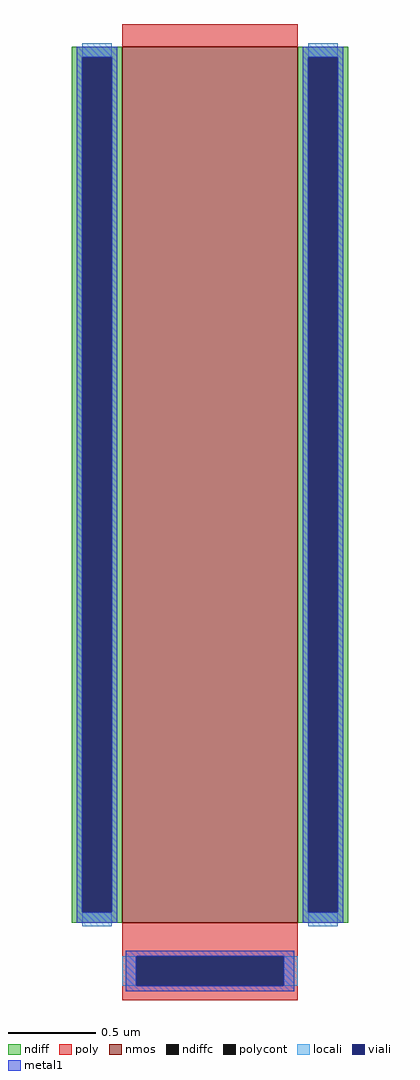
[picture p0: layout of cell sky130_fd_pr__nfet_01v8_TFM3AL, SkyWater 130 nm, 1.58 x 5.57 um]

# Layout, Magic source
magic
tech sky130A
magscale 1 2
<< nmos >>
rect -100 -469 100 531
<< ndiff >>
rect -158 519 -100 531
rect -158 -457 -146 519
rect -112 -457 -100 519
rect -158 -469 -100 -457
rect 100 519 158 531
rect 100 -457 112 519
rect 146 -457 158 519
rect 100 -469 158 -457
<< ndiffc >>
rect -146 -457 -112 519
rect 112 -457 146 519
<< poly >>
rect -100 531 100 557
rect -100 -507 100 -469
rect -100 -541 -84 -507
rect 84 -541 100 -507
rect -100 -557 100 -541
<< polycont >>
rect -84 -541 84 -507
<< locali >>
rect -146 519 -112 535
rect -146 -473 -112 -457
rect 112 519 146 535
rect 112 -473 146 -457
rect -100 -541 -84 -507
rect 84 -541 100 -507
<< viali >>
rect -146 -457 -112 519
rect 112 -457 146 519
rect -84 -541 84 -507
<< metal1 >>
rect -152 519 -106 531
rect -152 -457 -146 519
rect -112 -457 -106 519
rect -152 -469 -106 -457
rect 106 519 152 531
rect 106 -457 112 519
rect 146 -457 152 519
rect 106 -469 152 -457
rect -96 -507 96 -501
rect -96 -541 -84 -507
rect 84 -541 96 -507
rect -96 -547 96 -541
<< properties >>
string gencell sky130_fd_pr__nfet_01v8
string library sky130
string parameters w 5 l 1 m 1 nf 1 diffcov 100 polycov 100 guard 0 glc 0 grc 0 gtc 0 gbc 0 tbcov 100 rlcov 100 topc 0 botc 1 poverlap 0 doverlap 0 lmin 0.15 wmin 0.42 compatible {sky130_fd_pr__nfet_01v8 sky130_fd_pr__nfet_01v8_lvt  sky130_fd_bs_flash__special_sonosfet_star  sky130_fd_pr__nfet_g5v0d10v5 sky130_fd_pr__nfet_05v0_nvt  sky130_fd_pr__nfet_03v3_nvt} full_metal 0 viasrc 100 viadrn 100 viagate 100 viagb 0 viagr 0 viagl 0 viagt 0
<< end >>
